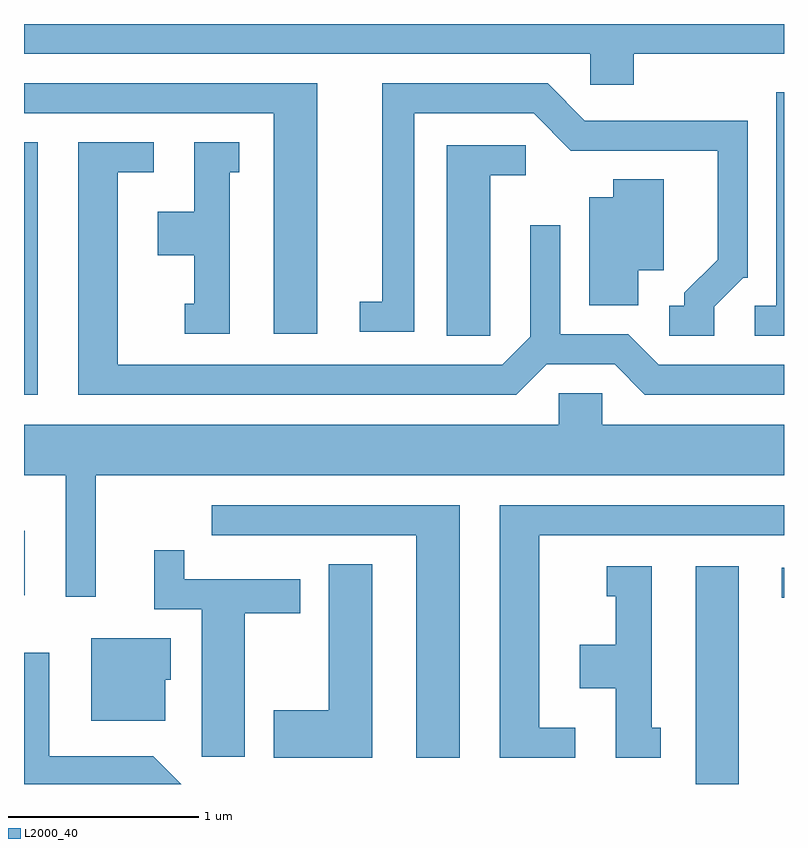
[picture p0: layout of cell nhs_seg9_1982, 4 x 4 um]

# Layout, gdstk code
import gdstk
lib = gdstk.Library(unit=1e-6, precision=1e-09)
def R(c, l, rs):  # rectangles x0, y0, x1, y1
    for r in rs: c.add(gdstk.rectangle(r[:2], r[2:], *l))
def P(c, l, *ps):  # polygons
    for p in ps: c.add(gdstk.Polygon(p, *l))
L2000_40 = (2000, 40)

nhs_seg9_1982 = lib.new_cell('nhs_seg9_1982')
R(nhs_seg9_1982, L2000_40, [(247.146,1972.432,247.374,1973.579), (247.598,1973.411,247.611,1973.569), (243.611,1973.426,243.614,1973.764), (243.611,1974.481,243.684,1975.809)])
P(nhs_seg9_1982, L2000_40, [(246.819,1976.276),(247.611,1976.276),(247.611,1976.432),(243.611,1976.432),(243.611,1976.276),(246.591,1976.276),(246.591,1976.111),(246.819,1976.111)],
  [(247.244,1974.944),(247.397,1975.096),(247.419,1975.096),(247.419,1975.924),(246.562,1975.924),(246.367,1976.119),(245.496,1976.119),(245.496,1974.969),(245.378,1974.969),(245.378,1974.811),(245.664,1974.811),(245.664,1975.961),(246.294,1975.961),(246.489,1975.766),(247.261,1975.766),(247.261,1975.192),(247.086,1975.017),(247.086,1974.949),(247.008,1974.949),(247.008,1974.791),(247.244,1974.791)],
  [(245.154,1976.119),(243.611,1976.119),(243.611,1975.961),(244.926,1975.961),(244.926,1974.801),(245.154,1974.801)],
  [(247.611,1976.074),(247.571,1976.074),(247.571,1974.949),(247.458,1974.949),(247.458,1974.791),(247.611,1974.791)],
  [(244.694,1975.651),(244.743,1975.651),(244.743,1975.809),(244.506,1975.809),(244.506,1975.444),(244.316,1975.444),(244.316,1975.216),(244.506,1975.216),(244.506,1974.959),(244.458,1974.959),(244.458,1974.801),(244.694,1974.801)],
  [(246.362,1974.641),(246.719,1974.641),(246.879,1974.481),(247.611,1974.481),(247.611,1974.639),(246.952,1974.639),(246.792,1974.799),(246.434,1974.799),(246.434,1975.373),(246.276,1975.373),(246.276,1974.787),(246.129,1974.639),(244.104,1974.639),(244.104,1975.651),(244.293,1975.651),(244.293,1975.809),(243.896,1975.809),(243.896,1974.481),(246.202,1974.481)],
  [(246.064,1975.636),(246.253,1975.636),(246.253,1975.794),(245.836,1975.794),(245.836,1974.791),(246.064,1974.791)],
  [(246.844,1975.136),(246.979,1975.136),(246.979,1975.614),(246.711,1975.614),(246.711,1975.519),(246.586,1975.519),(246.586,1974.951),(246.844,1974.951)],
  [(243.989,1974.056),(247.611,1974.056),(247.611,1974.324),(246.654,1974.324),(246.654,1974.489),(246.426,1974.489),(246.426,1974.324),(243.611,1974.324),(243.611,1974.056),(243.831,1974.056),(243.831,1973.418),(243.989,1973.418)],
  [(246.513,1972.729),(246.324,1972.729),(246.324,1973.741),(247.611,1973.741),(247.611,1973.899),(246.116,1973.899),(246.116,1972.571),(246.513,1972.571)],
  [(245.904,1973.899),(244.598,1973.899),(244.598,1973.741),(245.676,1973.741),(245.676,1972.571),(245.904,1972.571)],
  [(244.774,1973.331),(245.064,1973.331),(245.064,1973.509),(244.454,1973.509),(244.454,1973.663),(244.296,1973.663),(244.296,1973.351),(244.546,1973.351),(244.546,1972.576),(244.774,1972.576)],
  [(245.444,1973.589),(245.216,1973.589),(245.216,1972.819),(244.926,1972.819),(244.926,1972.571),(245.444,1972.571)],
  [(246.963,1972.729),(246.914,1972.729),(246.914,1973.579),(246.678,1973.579),(246.678,1973.421),(246.726,1973.421),(246.726,1973.164),(246.536,1973.164),(246.536,1972.936),(246.726,1972.936),(246.726,1972.571),(246.963,1972.571)],
  [(244.354,1972.981),(244.384,1972.981),(244.384,1973.199),(243.966,1973.199),(243.966,1972.766),(244.354,1972.766)],
  [(244.292,1972.579),(243.744,1972.579),(243.744,1973.123),(243.611,1973.123),(243.611,1972.432),(244.439,1972.432)])

lib.write_gds('nhs_seg9_1982.gds')
